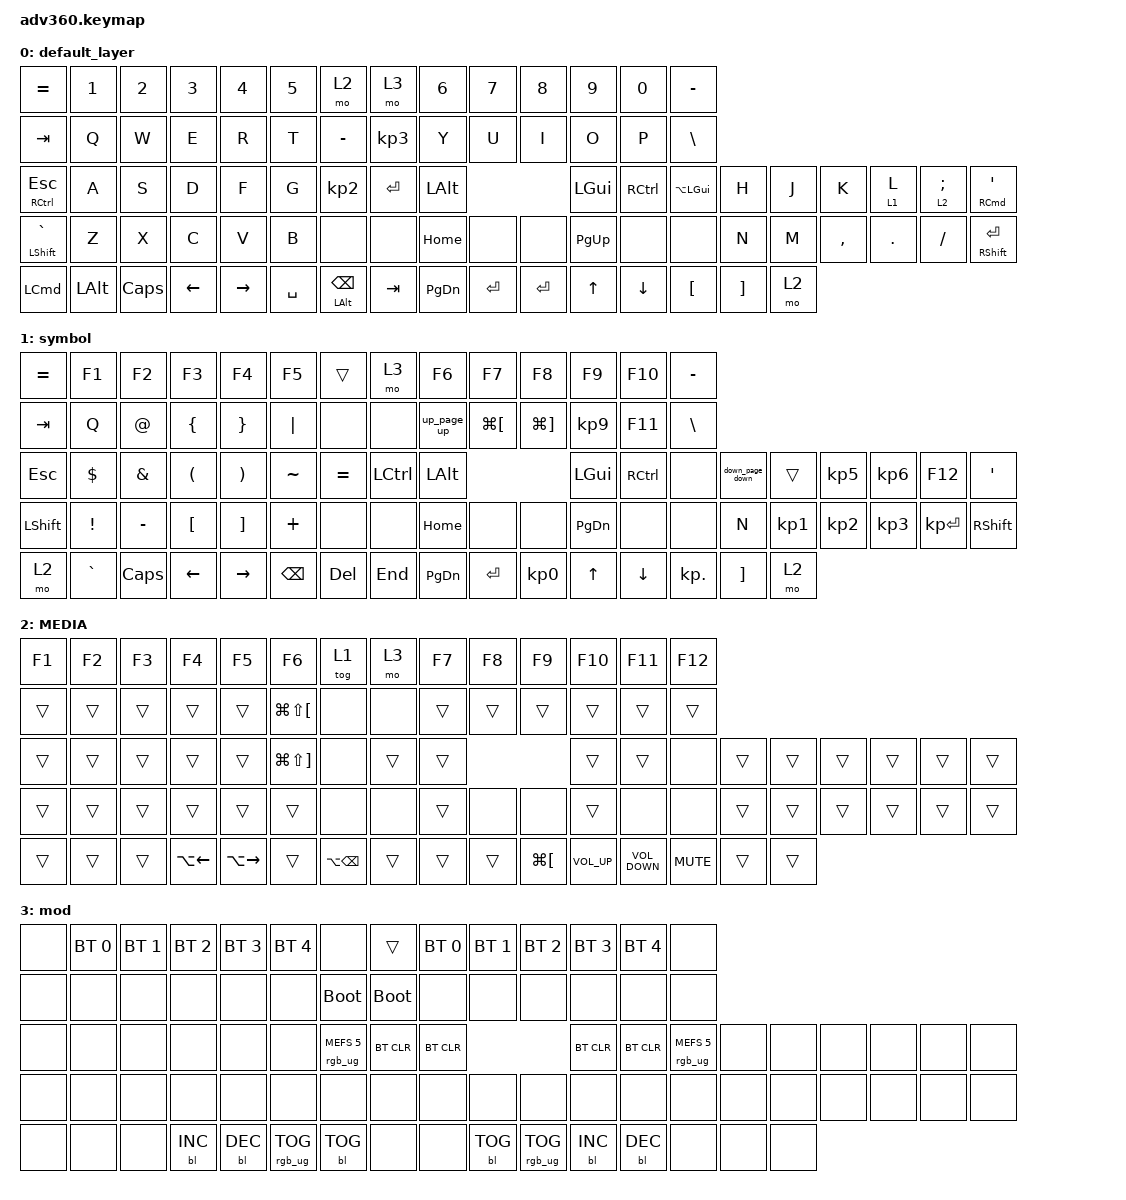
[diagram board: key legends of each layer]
#include <behaviors.dtsi>
#include <dt-bindings/zmk/keys.h>
#include <dt-bindings/zmk/bt.h>
#include <dt-bindings/zmk/rgb.h>
#include <dt-bindings/zmk/backlight.h>

/ {
    behaviors {
        #include "macros.dtsi"

        hm: homerow_mods {
            compatible = "zmk,behavior-hold-tap";
            label = "HOMEROW_MODS";
            #binding-cells = <2>;
            tapping-term-ms = <200>;
            quick_tap_ms = <175>;
            flavor = "tap-preferred";
            bindings =
                <&kp>,
                <&kp>;
        };
        td0: tap_dance_0 {
            compatible = "zmk,behavior-tap-dance";
            label = "TAP_DANCE_0";
            #binding-cells = <0>;
            tapping-term-ms = <200>;
            bindings =
                <&kp N1>,
                <&kp N2>,
                <&kp N3>;
        };
        td1: tap_sp_enter {
            compatible = "zmk,behavior-tap-dance";
            label = "TAP_SP_ENTER";
            #binding-cells = <0>;
            tapping-term-ms = <200>;
            bindings =
                <&kp SPACE>,
                <&kp ENTER>;
        };
        td2: tap_left_paren_brace {
            compatible = "zmk,behavior-tap-dance";
            label = "TAP_LEFT_PAREN_BRACE";
            #binding-cells = <0>;
            tapping-term-ms = <200>;
            bindings =
                <&kp LEFT_PARENTHESIS>,
                <&kp LEFT_BRACE>;
        };
        td3: tap_right_paren_brace {
            compatible = "zmk,behavior-tap-dance";
            label = "TAP_RIGHT_PAREN_BRACE";
            #binding-cells = <0>;
            tapping-term-ms = <200>;
            bindings =
                <&kp RIGHT_PARENTHESIS>,
                <&kp RIGHT_BRACE>;
        };
        td4: tap_equal_plus {
            compatible = "zmk,behavior-tap-dance";
            label = "TAP_EQUAL_PLUS";
            #binding-cells = <0>;
            tapping-term-ms = <200>;
            bindings =
                <&kp EQUAL>,
                <&kp PLUS>;
        };
        y_equal: y_equal {
            compatible = "zmk,behavior-tap-dance";
            label = "Y_EQUAL";
            #binding-cells = <0>;
            tapping-term-ms = <200>;
            bindings =
                <&kp Y>,
                <&kp EQUAL>;
        };
        up_page_up: up_page_up {
            compatible = "zmk,behavior-tap-dance";
            label = "UP_PAGE_UP";
            #binding-cells = <0>;
            tapping-term-ms = <200>;
            bindings =
                <&kp UP>,
                <&kp PAGE_UP>;
        };
        down_page_down: down_page_down {
            compatible = "zmk,behavior-tap-dance";
            label = "DOWN_PAGE_DOWN";
            #binding-cells = <0>;
            tapping-term-ms = <200>;
            bindings =
                <&kp DOWN>,
                <&kp PAGE_DOWN>;
        };
    };

    keymap {
        compatible = "zmk,keymap";

        default_layer {
            bindings = <
             &kp EQUAL        &kp N1    &kp N2    &kp N3     &kp N4     &kp N5                   &mo 2            &mo 3     &kp N6     &kp N7     &kp N8     &kp N9     &kp N0     &kp MINUS
               &kp TAB         &kp Q     &kp W     &kp E      &kp R      &kp T               &kp MINUS  &kp KP_NUMBER_3      &kp Y      &kp U      &kp I      &kp O      &kp P      &kp BSLH
 &mt RIGHT_CONTROL ESC         &kp A     &kp S     &kp D      &kp F      &kp G         &kp KP_NUMBER_2        &kp ENTER   &kp LALT                         &kp LGUI  &kp RCTRL  &kp LA(LGUI)     &kp H   &kp J      &kp K  &lt 1 L  &lt 2 SEMICOLON  &mt RIGHT_COMMAND SINGLE_QUOTE
  &mt LEFT_SHIFT GRAVE         &kp Z     &kp X     &kp C      &kp V      &kp B                   &none            &none   &kp HOME      &none      &none  &kp PG_UP      &none         &none     &kp N   &kp M  &kp COMMA  &kp DOT         &kp FSLH           &mt RIGHT_SHIFT ENTER
      &kp LEFT_COMMAND  &kp LEFT_ALT  &kp CAPS  &kp LEFT  &kp RIGHT  &kp SPACE  &mt LEFT_ALT BACKSPACE          &kp TAB  &kp PG_DN  &kp ENTER  &kp ENTER     &kp UP   &kp DOWN      &kp LBKT  &kp RBKT   &mo 2
            >;
        };

        symbol {
            bindings = <
 &kp EQUAL           &kp F1         &kp F2                &kp F3                 &kp F4     &kp F5     &trans      &mo 3       &kp F6                &kp F7        &kp F8         &kp F9    &kp F10   &kp MINUS
   &kp TAB            &kp Q    &kp AT_SIGN        &kp LEFT_BRACE        &kp RIGHT_BRACE   &kp PIPE      &none      &none  &up_page_up  &kp LG(LEFT_BRACKET)  &kp LG(RBKT)      &kp KP_N9    &kp F11    &kp BSLH
   &kp ESC       &kp DOLLAR  &kp AMPERSAND  &kp LEFT_PARENTHESIS  &kp RIGHT_PARENTHESIS  &kp TILDE  &kp EQUAL  &kp LCTRL     &kp LALT                                           &kp LGUI  &kp RCTRL       &none  &down_page_down     &trans  &kp KP_N5  &kp KP_N6       &kp F12    &kp SQT
 &kp LSHFT  &kp EXCLAMATION      &kp MINUS      &kp LEFT_BRACKET      &kp RIGHT_BRACKET   &kp PLUS      &none      &none     &kp HOME                 &none         &none  &kp PAGE_DOWN      &none       &none            &kp N  &kp KP_N1  &kp KP_N2  &kp KP_N3  &kp KP_ENTER  &kp RSHFT
     &mo 2        &kp GRAVE       &kp CAPS              &kp LEFT              &kp RIGHT   &kp BKSP    &kp DEL    &kp END    &kp PG_DN             &kp ENTER     &kp KP_N0         &kp UP   &kp DOWN  &kp KP_DOT         &kp RBKT      &mo 2
            >;
        };

        MEDIA {
            bindings = <
 &kp F1  &kp F2  &kp F3        &kp F4         &kp F5            &kp F6             &tog 1   &mo 3  &kp F7  &kp F8        &kp F9          &kp F10            &kp F11     &kp F12
 &trans  &trans  &trans        &trans         &trans  &kp LG(LS(LBKT))              &none   &none  &trans  &trans        &trans           &trans             &trans      &trans
 &trans  &trans  &trans        &trans         &trans  &kp LG(LS(RBKT))              &none  &trans  &trans                                 &trans             &trans       &none  &trans  &trans  &trans  &trans  &trans  &trans
 &trans  &trans  &trans        &trans         &trans            &trans              &none   &none  &trans   &none         &none           &trans              &none       &none  &trans  &trans  &trans  &trans  &trans  &trans
 &trans  &trans  &trans  &kp LA(LEFT)  &kp LA(RIGHT)            &trans  &kp LA(BACKSPACE)  &trans  &trans  &trans  &kp LG(LBKT)  &kp C_VOLUME_UP  &kp C_VOLUME_DOWN  &kp C_MUTE  &trans  &trans
            >;
        };

        mod {
            bindings = <
  &none  &bt BT_SEL 0  &bt BT_SEL 1  &bt BT_SEL 2  &bt BT_SEL 3     &bt BT_SEL 4                   &none       &trans  &bt BT_SEL 0  &bt BT_SEL 1     &bt BT_SEL 2  &bt BT_SEL 3  &bt BT_SEL 4                   &none
  &none         &none         &none         &none         &none            &none             &bootloader  &bootloader         &none         &none            &none         &none         &none                   &none
  &none         &none         &none         &none         &none            &none  &rgb_ug RGB_MEFS_CMD 5   &bt BT_CLR    &bt BT_CLR                                   &bt BT_CLR    &bt BT_CLR  &rgb_ug RGB_MEFS_CMD 5   &none   &none   &none   &none   &none   &none
  &none         &none         &none         &none         &none            &none                   &none        &none         &none         &none            &none         &none         &none                   &none   &none   &none   &none   &none   &none   &none
  &none         &none         &none    &bl BL_INC    &bl BL_DEC  &rgb_ug RGB_TOG              &bl BL_TOG        &none         &none    &bl BL_TOG  &rgb_ug RGB_TOG    &bl BL_INC    &bl BL_DEC                   &none   &none   &none
            >;
        };
    };
};
